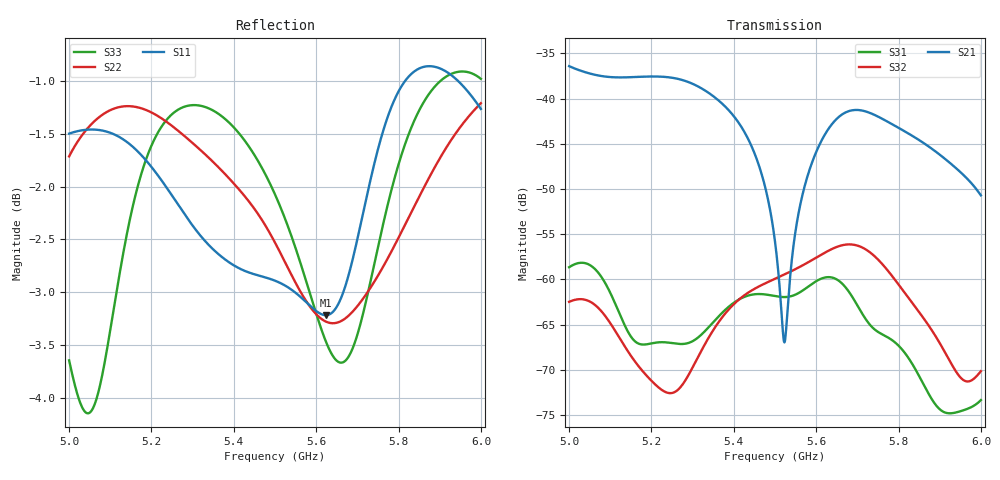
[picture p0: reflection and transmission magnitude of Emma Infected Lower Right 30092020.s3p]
! TOUCHSTONE file generated by CST MICROWAVE STUDIO
! Date and time: Wed Sep 30 08:00:40 2020
! Project name: Emma Lung Lower Right.cst
! Header version: 2018
! Port assignment regex: !\s*Touchstone port\s*([0-9]+)\s*=\s*(CST MWS port|CST DS port)\s*([0-9]+|Zmin|Zmax)\s*\(\"(.*)\"\)(\s*mode\s*([0-9]+))?.*
! Touchstone port assignment:
! Touchstone port 1 = CST MWS port 1 ("")
! Touchstone port 2 = CST MWS port 2 ("")
! Touchstone port 3 = CST MWS port 3 ("")
# GHz S RI R 50
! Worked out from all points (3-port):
!   1001 points, 5 GHz to 6 GHz, reference 50 ohm
!   strongest paths, dB at 5 GHz, 5.25 GHz, 5.5 GHz, 5.75 GHz, 6 GHz:
!     S21: -36.4, -37.7, -55.8, -42.0, -50.7
!     S32: -62.5, -72.6, -59.9, -57.8, -70.2
!     S31: -58.7, -67.1, -61.9, -65.8, -73.4
!   lowest |S11| = -3.2 dB at 5.623 GHz (marker M1), VSWR 5.46, Z = 257 + j62.5 ohm
!   |S11| at or under -10 dB: nowhere
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5  0.8416 0.00436  -0.0149 0.00269  0.00118 0.000201
   -0.0149 0.00266  0.8148 0.1006  0.000761 0.000155
   0.00115 0.000205  0.000739 0.000133  0.6513 -0.0888
5.247  0.7852 -0.0681  0.00999 0.00842  -0.000408 0.000181
       0.00998 0.00842  0.8489 -0.033  -0.000226 5.11e-05
       -0.000404 0.000187  -0.000229 5.29e-05  0.8558 0.0684
5.418  0.7255 -0.0227  0.000975 -0.00691  0.000684 0.000399
       0.000978 -0.00692  0.787 -0.0647  0.000505 0.000609
       0.000679 0.000395  0.000507 0.000608  0.8379 -0.0499
5.5  0.7169 0.00183  -0.0015 -0.000611  0.00051 -0.000618
     -0.0015 -0.00061  0.7446 -0.0639  0.000852 -0.000537
     0.000513 -0.000625  0.000853 -0.000534  0.7839 -0.0764
5.524  0.7132 0.00814  -8.17e-05 0.000453  0.000269 -0.000749
       -8.01e-05 0.000448  0.7295 -0.0582  0.000602 -0.000878
       0.000263 -0.000754  0.000606 -0.000878  0.7634 -0.0779
5.56  0.7046 0.02  0.0025 0.000136  -0.000147 -0.000842
      0.0025 0.000138  0.7081 -0.0422  -1.19e-05 -0.00117
      -0.000147 -0.000834  -1.45e-05 -0.00117  0.7292 -0.0716
5.623  0.6875 0.0636  0.00372 -0.00523  -0.000991 -0.000229
       0.00372 -0.00524  0.6857 0.0021  -0.0013 -0.000567
       -0.000998 -0.000237  -0.00129 -0.000565  0.6709 -0.0239
5.736  0.7893 0.1664  -0.00743 -0.00352  0.000171 0.000521
       -0.00743 -0.00353  0.7086 0.0831  0.000583 0.00125
       0.000159 0.00052  0.00059 0.00125  0.71 0.1332
5.911  0.9013 0.0228  -0.000359 0.00466  0.000134 -0.000108
       -0.000349 0.00466  0.817 0.1205  -7.24e-05 -0.0004
       0.000146 -0.000112  -8e-05 -0.000394  0.8915 0.0708
6  0.8638 -0.0349  0.00236 0.00167  9.95e-05 -0.000208
   0.00237 0.00169  0.865 0.0924  -0.000182 -0.00023
   0.00011 -0.000185  -0.000194 -0.000242  0.8932 -0.0158
